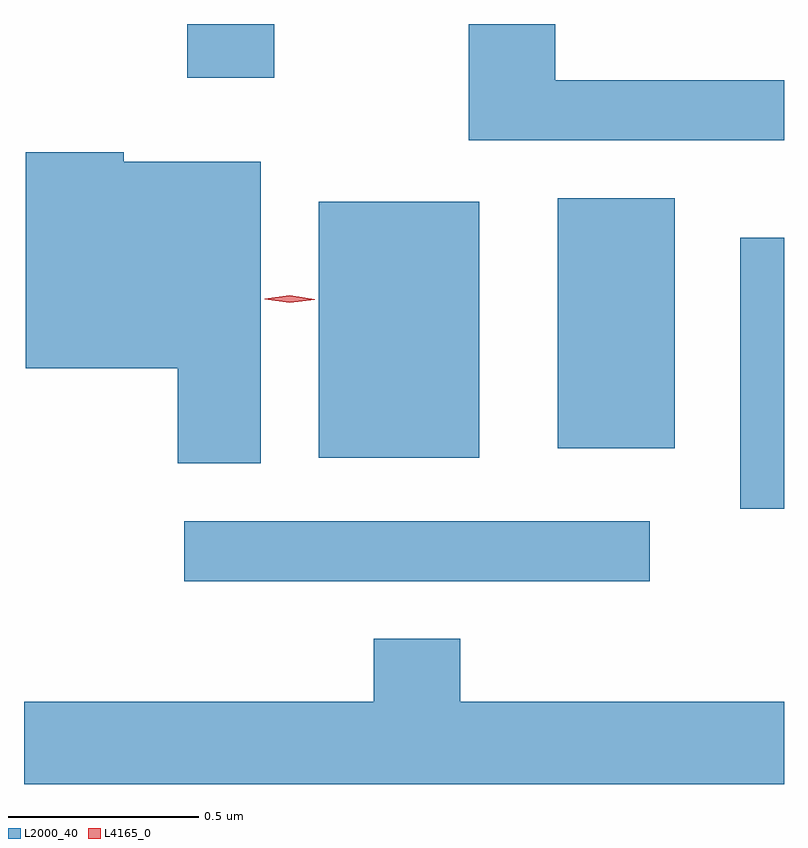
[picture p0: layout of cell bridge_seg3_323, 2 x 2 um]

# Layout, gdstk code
import gdstk
lib = gdstk.Library(unit=1e-6, precision=1e-09)
def R(c, l, rs):  # rectangles x0, y0, x1, y1
    for r in rs: c.add(gdstk.rectangle(r[:2], r[2:], *l))
def P(c, l, *ps):  # polygons
    for p in ps: c.add(gdstk.Polygon(p, *l))
L2000_40 = (2000, 40)
L4165_0 = (4165, 0)

bridge_seg3_323 = lib.new_cell('bridge_seg3_323')
R(bridge_seg3_323, L2000_40, [(601.593,1157.681,602.818,1157.839), (603.056,1157.871,603.171,1158.584), (601.946,1158.006,602.369,1158.679), (602.576,1158.031,602.884,1158.689), (601.601,1159.006,601.829,1159.147)])
P(bridge_seg3_323, L2000_40, [(603.171,1158.999),(602.569,1158.999),(602.569,1159.147),(602.341,1159.147),(602.341,1158.841),(603.171,1158.841)],
  [(601.794,1158.784),(601.434,1158.784),(601.434,1158.809),(601.176,1158.809),(601.176,1158.241),(601.576,1158.241),(601.576,1157.991),(601.794,1157.991)],
  [(603.171,1157.364),(602.319,1157.364),(602.319,1157.529),(602.091,1157.529),(602.091,1157.364),(601.171,1157.364),(601.171,1157.147),(603.171,1157.147)])
P(bridge_seg3_323, L4165_0, [(601.87,1158.413),(601.804,1158.423),(601.804,1158.424),(601.804,1158.424),(601.87,1158.433),(601.936,1158.423),(601.936,1158.422),(601.936,1158.422)])

lib.write_gds('bridge_seg3_323.gds')
